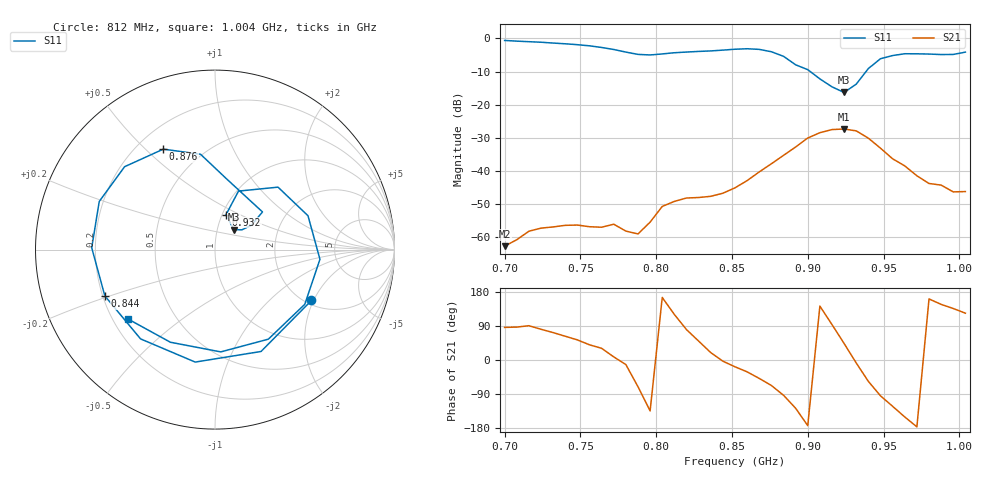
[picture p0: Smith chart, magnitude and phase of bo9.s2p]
# Hz S RI R 50
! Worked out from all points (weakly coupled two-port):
!   39 points, 700 MHz to 1.004 GHz, reference 50 ohm
!   highest |S21| = -27.35 dB at 924 MHz (marker M1); lowest = -62.7 dB at 700 MHz (marker M2)
!   lowest |S11| = -16.3 dB at 924 MHz (marker M3), VSWR 1.36, Z = 59.9 + j13.7 ohm
!   |S11| at or under -10 dB: 901.6 MHz to 938.5 MHz (36.81 MHz wide, 4 % of centre)
!   S12 and S22 are empty: the file has one direction only
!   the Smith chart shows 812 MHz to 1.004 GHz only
!   S11 on the Smith chart (normalised r, x): 812 MHz: 2.14, -1.93; 844 MHz: 0.21, -0.19; 876 MHz: 0.31, +0.57; 932 MHz: 1.04, +0.42; 1.004 GHz: 0.26, -0.33
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7e8  0.7475 0.5564  5.04e-05 0.000728  0 0  0 0
7.24e8  0.8431 -0.2385  0.000212 0.00135  0 0  0 0
7.4e8  0.4577 -0.6918  0.000692 0.00134  0 0  0 0
7.56e8  -0.1881 -0.7499  0.0011 0.000924  0 0  0 0
7.72e8  -0.6538 -0.1899  0.00155 0.000224  0 0  0 0
7.8e8  -0.5786 0.2281  0.00121 -0.000259  0 0  0 0
7.88e8  -0.2321 0.5247  0.000371 -0.00105  0 0  0 0
7.96e8  0.2475 0.5054  -0.00118 -0.0012  0 0  0 0
8.04e8  0.5611 0.1594  -0.00281 0.00075  0 0  0 0
8.12e8  0.5375 -0.2834  -0.00174 0.00299  0 0  0 0
8.28e8  -0.1103 -0.6267  0.00255 0.00303  0 0  0 0
8.44e8  -0.6137 -0.2582  0.00459 -0.00025  0 0  0 0
8.52e8  -0.6869 0.0101  0.00528 -0.00171  0 0  0 0
8.76e8  -0.2879 0.5597  0.00495 -0.0118  0 0  0 0
9e8  0.2645 0.2099  -0.0311 -0.00373  0 0  0 0
9.08e8  0.2035 0.1363  -0.0298 0.0231  0 0  0 0
9.24e8  0.1042 0.1116  0.0311 0.0295  0 0  0 0
9.32e8  0.0615 0.1948  0.0398 -0.00557  0 0  0 0
9.48e8  0.3511 0.3479  -0.00175 -0.0219  0 0  0 0
9.56e8  0.5182 0.1886  -0.00813 -0.0129  0 0  0 0
9.8e8  0.2973 -0.499  -0.0061 0.00209  0 0  0 0
1.004e9  -0.4866 -0.3857  -0.0027 0.00406  0 0  0 0
